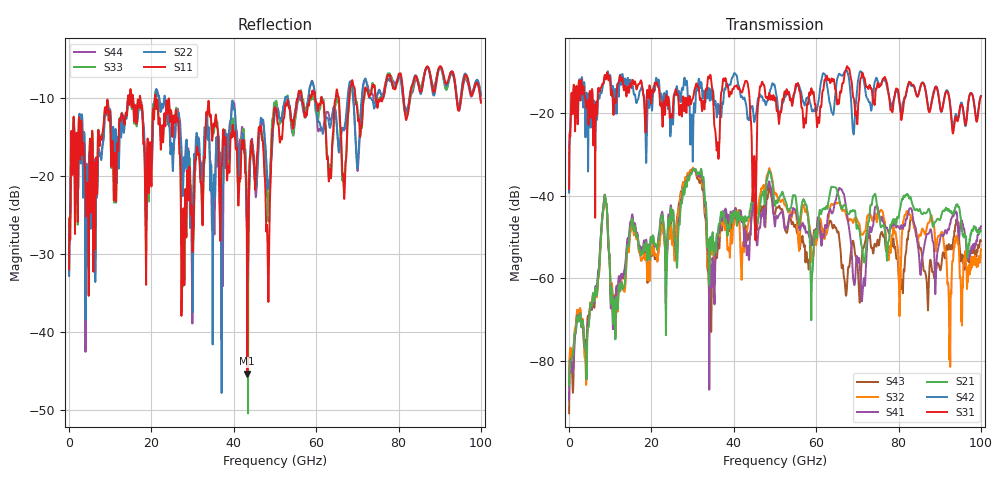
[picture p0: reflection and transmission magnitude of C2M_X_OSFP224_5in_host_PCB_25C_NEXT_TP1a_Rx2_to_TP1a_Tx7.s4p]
# GHz S RI R 45
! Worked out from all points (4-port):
!   4000 points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, 25 MHz to 100 GHz, reference 45 ohm
!   strongest paths, dB at 25 MHz, 25.02 GHz, 50.02 GHz, 75.03 GHz, 100 GHz:
!     S31: -38.4, -21.2, -16.4, -12.8, -16.0
!     S42: -39.3, -21.2, -13.8, -12.5, -15.9
!     S21: -85.8, -46.0, -42.5, -44.2, -48.5
!     S41: -89.3, -45.2, -47.3, -43.2, -47.4
!     S32: -85.3, -51.9, -39.7, -44.0, -53.0
!     S43: -92.6, -51.2, -44.4, -50.9, -51.0
!   lowest |S11| = -45.4 dB at 43.27 GHz (marker M1), VSWR 1.01, Z = 44.6 + j0.193 ohm
!   |S11| at or under -10 dB: start of sweep to 14.3 GHz; 17.32 GHz to 20.84 GHz (3.523 GHz wide, 18.5 % of centre); 21.03 GHz to 55.57 GHz (34.53 GHz wide, 90.2 % of centre) (the widest 3 of 16)
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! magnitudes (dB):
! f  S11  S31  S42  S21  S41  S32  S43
! 25 MHz  -32.0  -38.4  -39.3  -85.8  -89.3  -85.3  -92.6
! 8.7 GHz  -11.3  -10.9  -11.3  -39.8  -39.7  -40.0  -40.0
! 11.03 GHz  -19.1  -16.9  -19.4  -65.5  -65.2  -64.1  -64.5
! 30.3 GHz  -25.7  -15.3  -18.6  -33.6  -33.7  -33.5  -33.7
! 34.25 GHz  -12.3  -10.9  -16.7  -50.9  -57.4  -51.1  -61.6
! 43.27 GHz  -45.4  -12.5  -21.0  -45.4  -53.0  -48.0  -50.1
! 100 GHz  -10.6  -16.0  -15.9  -48.5  -47.4  -53.0  -51.0
